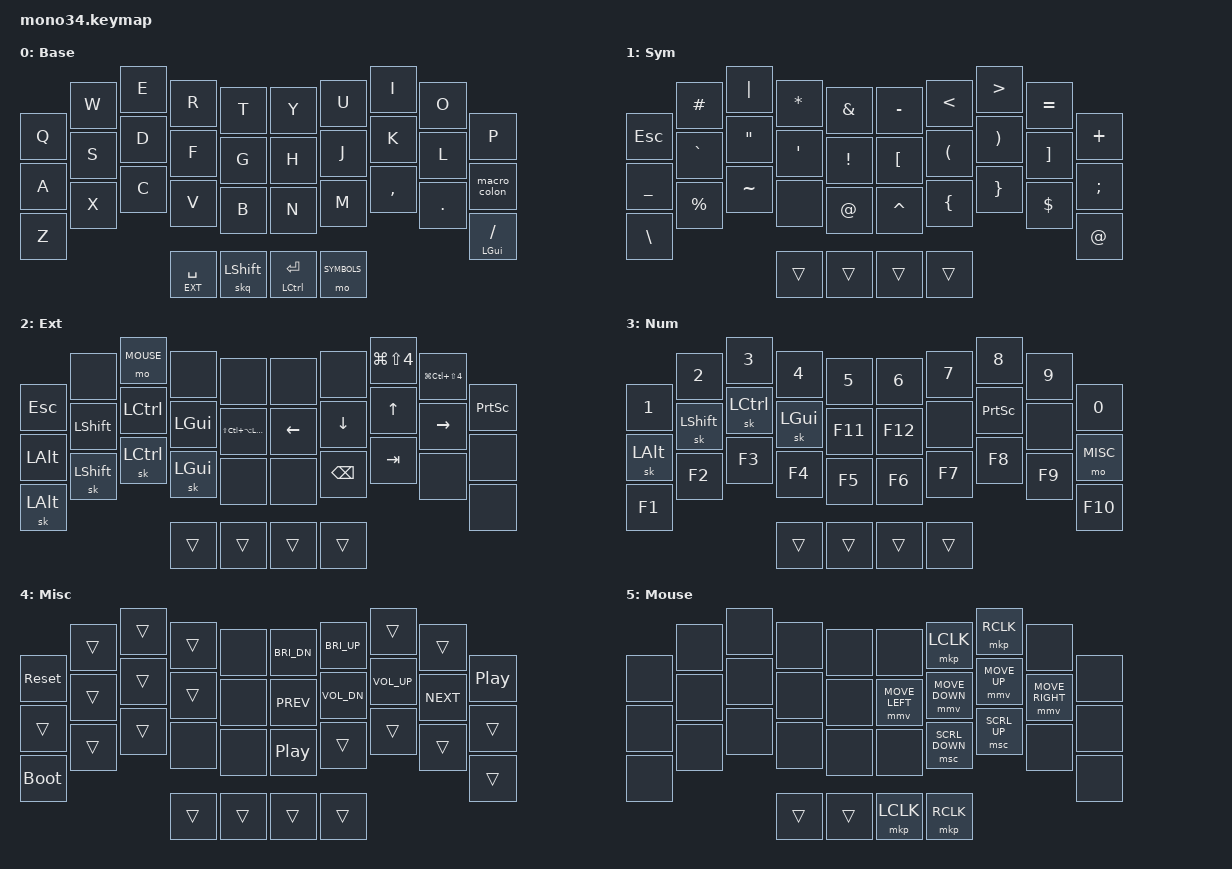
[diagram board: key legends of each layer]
/*
 * Keymap for the mono34, ported from the endgame 36-key config
 * (zmk-RP2040-config-endgame-efra) with the two outer thumb keys dropped.
 *
 * Key order is identical to the Sweep/Cradio 34-key order (three rows of ten,
 * left to right, then the four thumbs left to right), so bindings can be moved
 * between this keymap and any other 34-key ZMK config as-is.
 *
 * SPDX-License-Identifier: MIT
 */

#define ZMK_POINTING_DEFAULT_SCRL_VAL 20

#include <behaviors.dtsi>
#include <dt-bindings/zmk/keys.h>
#include <dt-bindings/zmk/pointing.h>

#define BASE    0
#define SYMBOLS 1
#define EXT     2
#define NUMBERS 3
#define MISC    4
#define MOUSE   5

#define HYPER LS(LC(LA(LGUI)))
#define MAC_SNIP      LG(LC(LS(N4)))
#define MAC_SNIP_FILE LG(LS(N4))

&sk {
    release-after-ms = <3000>;
    ignore-modifiers;
};

&mt {
    tapping-term-ms = <220>;
    quick-tap-ms = <150>;
};

&lt {
    tapping-term-ms = <200>;
    quick-tap-ms = <150>;
};

/ {
    behaviors {
        ht: hold_tap {
            compatible = "zmk,behavior-hold-tap";
            #binding-cells = <2>;
            flavor = "tap-preferred";
            tapping-term-ms = <220>;
            quick-tap-ms = <150>;
            require-prior-idle-ms = <100>;
            bindings = <&kp>, <&kp>;
        };

        skq: sticky_key_quick_release {
            compatible = "zmk,behavior-sticky-key";
            label = "STICKY_KEY_QUICK_RELEASE";
            #binding-cells = <1>;
            bindings = <&kp>;
            release-after-ms = <1000>;
            quick-release;
        };
    };

    macros {
        macro_colon: macro_colon {
            compatible = "zmk,behavior-macro";
            label = "Macro Colon";
            #binding-cells = <0>;
            bindings = <&kp COLON>;
            wait-ms = <0>;
            tap-ms = <10>;
        };
    };

    conditional_layers {
        compatible = "zmk,conditional-layers";
        tri_layer {
            if-layers = <SYMBOLS EXT>;
            then-layer = <NUMBERS>;
        };
    };

    // combos {
    //     compatible = "zmk,combos";
    //     combo_esc {
    //         timeout-ms = <50>;
    //         key-positions = <16 17>;   // J + K
    //         bindings = <&kp ESC>;
    //         require-prior-idle-ms = <150>;
    //     };
    // };

    keymap {
        compatible = "zmk,keymap";

        default_layer {
            display-name = "Base";
            bindings = <
        //╭──────────┬──────────┬──────────┬──────────┬──────────╮   ╭──────────┬──────────┬──────────┬──────────┬──────────╮
            &kp Q      &kp W      &kp E      &kp R      &kp T          &kp Y      &kp U      &kp I      &kp O      &kp P
        //├──────────┼──────────┼──────────┼──────────┼──────────┤   ├──────────┼──────────┼──────────┼──────────┼──────────┤
            &kp A      &kp S      &kp D      &kp F      &kp G          &kp H      &kp J      &kp K      &kp L    &macro_colon
        //├──────────┼──────────┼──────────┼──────────┼──────────┤   ├──────────┼──────────┼──────────┼──────────┼──────────┤
            &kp Z      &kp X      &kp C      &kp V      &kp B          &kp N      &kp M      &kp COMMA  &kp DOT  &ht LGUI FSLH
        //╰──────────┴──────────┴──────────┼──────────┼──────────┤   ├──────────┼──────────┼──────────┴──────────┴──────────╯
                                      &lt EXT SPACE  &skq LSHFT   &mt LCTRL RET  &mo SYMBOLS
        //                                 ╰──────────┴──────────╯   ╰──────────┴──────────╯
            >;
        };

        symbols {
            display-name = "Sym";
            bindings = <
        //╭──────────┬──────────┬──────────┬──────────┬──────────╮   ╭──────────┬──────────┬──────────┬──────────┬──────────╮
            &kp ESC    &kp HASH   &kp PIPE   &kp STAR   &kp AMPS       &kp MINUS  &kp LT     &kp GT     &kp EQUAL  &kp PLUS
        //├──────────┼──────────┼──────────┼──────────┼──────────┤   ├──────────┼──────────┼──────────┼──────────┼──────────┤
            &kp UNDER  &kp GRAVE  &kp DQT    &kp SQT    &kp EXCL       &kp LBKT   &kp LPAR   &kp RPAR   &kp RBKT   &kp SEMI
        //├──────────┼──────────┼──────────┼──────────┼──────────┤   ├──────────┼──────────┼──────────┼──────────┼──────────┤
            &kp BSLH   &kp PRCNT  &kp TILDE  &none      &kp AT         &kp CARET  &kp LBRC   &kp RBRC   &kp DLLR   &kp AT
        //╰──────────┴──────────┴──────────┼──────────┼──────────┤   ├──────────┼──────────┼──────────┴──────────┴──────────╯
                                            &trans     &trans         &trans     &trans
        //                                 ╰──────────┴──────────╯   ╰──────────┴──────────╯
            >;
        };

        ext {
            display-name = "Ext";
            bindings = <
        //╭──────────┬──────────┬──────────┬──────────┬──────────╮   ╭──────────┬──────────┬──────────┬──────────┬──────────╮
            &kp ESC    &none      &mo MOUSE  &none      &none          &none      &none    &kp MAC_SNIP_FILE &kp MAC_SNIP &kp PSCRN
        //├──────────┼──────────┼──────────┼──────────┼──────────┤   ├──────────┼──────────┼──────────┼──────────┼──────────┤
            &kp LALT   &kp LSHFT  &kp LCTRL  &kp LGUI   &kp HYPER      &kp LEFT   &kp DOWN   &kp UP     &kp RIGHT  &none
        //├──────────┼──────────┼──────────┼──────────┼──────────┤   ├──────────┼──────────┼──────────┼──────────┼──────────┤
            &sk LALT   &sk LSHFT  &sk LCTRL  &sk LGUI   &none          &none      &kp BSPC   &kp TAB    &none      &none
        //╰──────────┴──────────┴──────────┼──────────┼──────────┤   ├──────────┼──────────┼──────────┴──────────┴──────────╯
                                            &trans     &trans         &trans     &trans
        //                                 ╰──────────┴──────────╯   ╰──────────┴──────────╯
            >;
        };

        numbers {
            display-name = "Num";
            bindings = <
        //╭──────────┬──────────┬──────────┬──────────┬──────────╮   ╭──────────┬──────────┬──────────┬──────────┬──────────╮
            &kp N1     &kp N2     &kp N3     &kp N4     &kp N5         &kp N6     &kp N7     &kp N8     &kp N9     &kp N0
        //├──────────┼──────────┼──────────┼──────────┼──────────┤   ├──────────┼──────────┼──────────┼──────────┼──────────┤
            &sk LALT   &sk LSHFT  &sk LCTRL  &sk LGUI   &kp F11        &kp F12    &none      &kp PSCRN  &none      &mo MISC
        //├──────────┼──────────┼──────────┼──────────┼──────────┤   ├──────────┼──────────┼──────────┼──────────┼──────────┤
            &kp F1     &kp F2     &kp F3     &kp F4     &kp F5         &kp F6     &kp F7     &kp F8     &kp F9     &kp F10
        //╰──────────┴──────────┴──────────┼──────────┼──────────┤   ├──────────┼──────────┼──────────┴──────────┴──────────╯
                                            &trans     &trans         &trans     &trans
        //                                 ╰──────────┴──────────╯   ╰──────────┴──────────╯
            >;
        };

        misc {
            display-name = "Misc";
            bindings = <
        //╭──────────┬──────────┬──────────┬──────────┬──────────╮   ╭──────────┬──────────┬──────────┬──────────┬──────────╮
            &sys_reset &trans     &trans     &trans     &none      &kp C_BRI_DN &kp C_BRI_UP &trans     &trans     &kp C_PP
        //├──────────┼──────────┼──────────┼──────────┼──────────┤   ├──────────┼──────────┼──────────┼──────────┼──────────┤
            &trans     &trans     &trans     &trans     &none        &kp C_PREV &kp C_VOL_DN &kp C_VOL_UP &kp C_NEXT &trans
        //├──────────┼──────────┼──────────┼──────────┼──────────┤   ├──────────┼──────────┼──────────┼──────────┼──────────┤
            &bootloader &trans    &trans     &none      &none          &kp C_PP   &trans     &trans     &trans     &trans
        //╰──────────┴──────────┴──────────┼──────────┼──────────┤   ├──────────┼──────────┼──────────┴──────────┴──────────╯
                                            &trans     &trans         &trans     &trans
        //                                 ╰──────────┴──────────╯   ╰──────────┴──────────╯
            >;
        };

        mouse {
            display-name = "Mouse";
            bindings = <
        //╭──────────┬──────────┬──────────┬──────────┬──────────╮   ╭──────────┬──────────┬──────────┬──────────┬──────────╮
            &none      &none      &none      &none      &none          &none      &mkp LCLK  &mkp RCLK  &none      &none
        //├──────────┼──────────┼──────────┼──────────┼──────────┤   ├──────────┼──────────┼──────────┼──────────┼──────────┤
            &none      &none      &none      &none      &none      &mmv MOVE_LEFT &mmv MOVE_DOWN &mmv MOVE_UP &mmv MOVE_RIGHT &none
        //├──────────┼──────────┼──────────┼──────────┼──────────┤   ├──────────┼──────────┼──────────┼──────────┼──────────┤
            &none      &none      &none      &none      &none          &none    &msc SCRL_DOWN &msc SCRL_UP &none    &none
        //╰──────────┴──────────┴──────────┼──────────┼──────────┤   ├──────────┼──────────┼──────────┴──────────┴──────────╯
                                            &trans     &trans         &mkp LCLK  &mkp RCLK
        //                                 ╰──────────┴──────────╯   ╰──────────┴──────────╯
            >;
        };
    };
};
